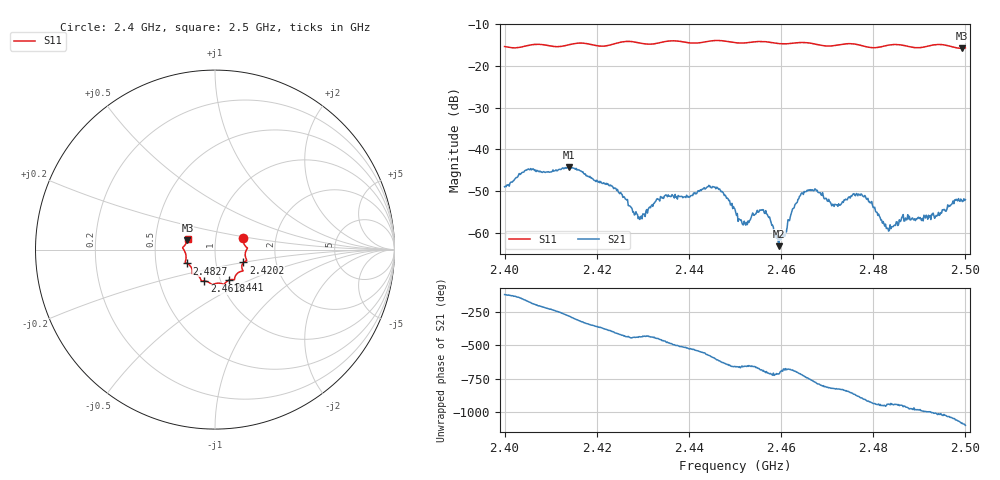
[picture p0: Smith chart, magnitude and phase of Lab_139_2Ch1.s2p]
# Hz S RI R 50
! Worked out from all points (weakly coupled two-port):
!   601 points, 2.4 GHz to 2.5 GHz, reference 50 ohm
!   highest |S21| = -44.25 dB at 2.414 GHz (marker M1); lowest = -63.2 dB at 2.4595 GHz (marker M2)
!   lowest |S11| = -15.8 dB at 2.4993 GHz (marker M3), VSWR 1.39, Z = 36.5 + j3.85 ohm
!   |S11| at or under -10 dB: start of sweep to end of sweep
!   S12 and S22 are empty: the file has one direction only
!   S11 on the Smith chart (normalised r, x): 2.4 GHz: 1.36, +0.18; 2.4202 GHz: 1.36, -0.20; 2.441 GHz: 1.10, -0.39; 2.4618 GHz: 0.84, -0.30; 2.4827 GHz: 0.72, -0.12; 2.5 GHz: 0.73, +0.09
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2.4e9  0.1583 0.063  -0.00195 -0.00298  0 0  0 0
2.404833e9  0.1736 0.0146  -0.00565 -0.000939  0 0  0 0
2.414e9  0.1722 -0.0492  0.00134 0.00598  0 0  0 0
2.416667e9  0.1771 -0.0611  0.0045 0.00311  0 0  0 0
2.420167e9  0.1585 -0.0713  0.00412 -0.000129  0 0  0 0
2.429333e9  0.143 -0.122  0.000333 -0.00141  0 0  0 0
2.433333e9  0.1115 -0.1507  -2.05e-05 -0.00252  0 0  0 0
2.441e9  0.0788 -0.1697  -0.00296 -0.000487  0 0  0 0
2.445833e9  0.0501 -0.1949  -0.00154 0.00301  0 0  0 0
2.45e9  0.0285 -0.1877  0.000879 0.0017  0 0  0 0
2.452167e9  0.0066 -0.1882  0.000558 0.00117  0 0  0 0
2.456167e9  -0.0167 -0.1947  0.0016 0.00101  0 0  0 0
2.4595e9  -0.0362 -0.1814  0.00069 6.86e-05  0 0  0 0
2.461833e9  -0.0589 -0.1756  0.00107 0.000897  0 0  0 0
2.464167e9  -0.074 -0.1753  0.00275 0.000383  0 0  0 0
2.466667e9  -0.0787 -0.1684  0.00249 -0.00213  0 0  0 0
2.4715e9  -0.109 -0.1367  -0.000436 -0.00203  0 0  0 0
2.477833e9  -0.1271 -0.1171  -0.00273 8.77e-06  0 0  0 0
2.482667e9  -0.1559 -0.0773  -0.00074 0.00103  0 0  0 0
2.483333e9  -0.1603 -0.0751  -0.000837 0.000635  0 0  0 0
2.499333e9  -0.1538 0.0513  0.00237 3.75e-05  0 0  0 0
2.5e9  -0.152 0.0607  0.00239 -0.000715  0 0  0 0
